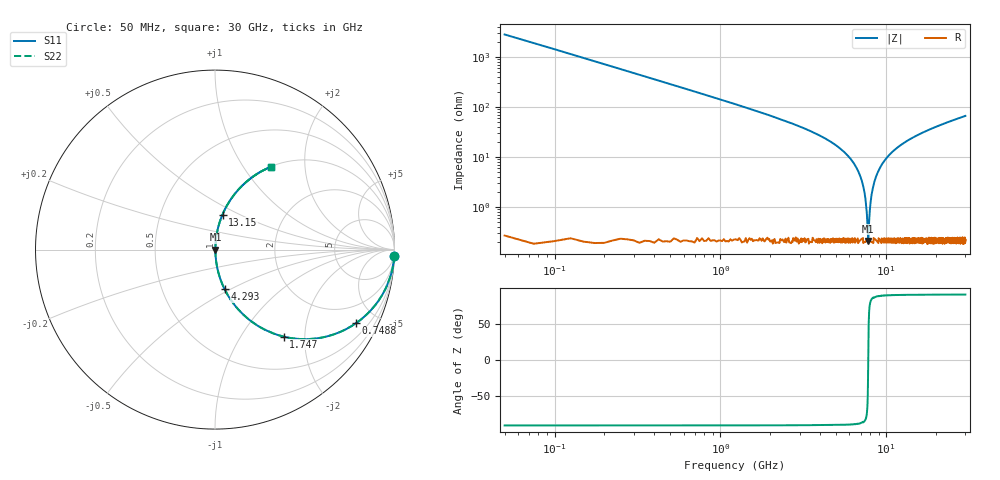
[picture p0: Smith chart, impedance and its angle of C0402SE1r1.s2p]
!	AVX Thin Film Operation 	Date: April 2014
!	Description: Accu-P® Series, Thin Film  SMD RF Capacitor
!	Part Number: 04021J1R1PBSTR
# MHZ S MA R 50
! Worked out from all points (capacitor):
!   1201 points, 50 MHz to 30 GHz, reference 50 ohm
!   read as one part in series: C = 1.1 pF near 199.8 MHz
!   lowest |Z| = 208 mohm at 7.787 GHz (marker M1)
!   series resonance near 7.785 GHz, so ESL is about 380 pH
!   S11 on the Smith chart (normalised r, x): 50 MHz: 2, -58; 748.8 MHz: 1.00, -3.83; 1.747 GHz: 1.00, -1.57; 4.293 GHz: 1.00, -0.47; 13.15 GHz: 1.00, +0.41; 30 GHz: 1.00, +1.34
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50  0.999 -2.0  0.035 88.0  0.035 88.0  0.999 -2.0
349.5  0.972 -13.6  0.235 76.4  0.235 76.4  0.972 -13.6
748.833  0.886 -27.6  0.463 62.4  0.463 62.4  0.886 -27.6
1747.167  0.617 -51.7  0.785 38.1  0.785 38.1  0.617 -51.7
2795.417  0.41 -65.5  0.91 24.2  0.91 24.2  0.41 -65.5
4292.917  0.228 -76.3  0.972 13.2  0.972 13.2  0.228 -76.3
5041.667  0.164 -79.8  0.984 9.4  0.984 9.4  0.164 -79.8
6239.667  0.082 -83.8  0.994 4.7  0.994 4.7  0.082 -83.8
6963.458  0.041 -84.7  0.997 2.4  0.997 2.4  0.041 -84.7
7387.75  0.02 -82.6  0.998 1.1  0.998 1.1  0.02 -82.6
7687.25  0.00513 -65.1  0.998 0.3  0.998 0.3  0.00513 -65.1
7787.083  0.002139 3.3  0.998 -0.0  0.998 -0.0  0.002139 3.3
7886.917  0.005297 65.9  0.998 -0.3  0.998 -0.3  0.005297 65.9
8136.5  0.017 81.6  0.998 -0.9  0.998 -0.9  0.017 81.6
8510.875  0.033 84.4  0.997 -1.9  0.997 -1.9  0.033 84.4
9209.708  0.063 84.5  0.996 -3.6  0.996 -3.6  0.063 84.5
10058.29  0.096 83.2  0.993 -5.5  0.993 -5.5  0.096 83.2
13153.12  0.2 77.9  0.978 -11.5  0.978 -11.5  0.2 77.9
15025  0.253 74.9  0.965 -14.7  0.965 -14.7  0.253 74.9
20016.67  0.375 67.7  0.925 -22.0  0.925 -22.0  0.375 67.7
25033.29  0.474 61.5  0.878 -28.3  0.878 -28.3  0.474 61.5
30000  0.555 56.1  0.83 -33.7  0.83 -33.7  0.555 56.1
